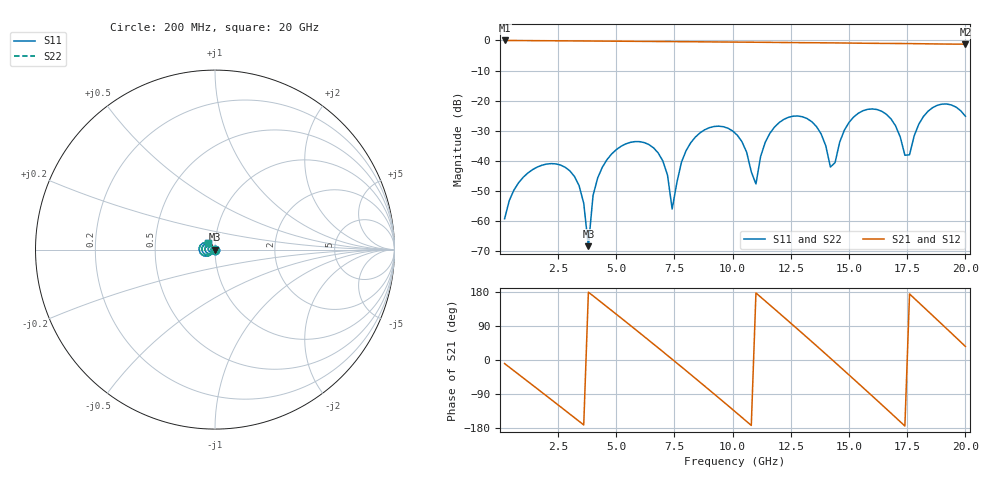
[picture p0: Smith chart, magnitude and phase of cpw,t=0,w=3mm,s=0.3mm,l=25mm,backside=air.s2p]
# HZ S RI R 50
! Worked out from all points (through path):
!   100 points, 200 MHz to 20 GHz, reference 50 ohm
!   highest |S21| = -0.01 dB at 200 MHz (marker M1); lowest = -1.2 dB at 20 GHz (marker M2)
!   group delay of S21, straight-line fit = 145 ps
!   lowest |S11| = -68.3 dB at 3.8 GHz (marker M3), VSWR 1.00, Z = 50 - j0.0234 ohm
!   |S11| at or under -10 dB: start of sweep to end of sweep
!   |S22| runs from -68.3 to -21.1 dB; largest |S21 - S12| = 0
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2e8  -0.000188 -0.00108  0.9853 -0.1641  0.9853 -0.1641  -0.000188 -0.00108
1.8e9  -0.00845 -0.00069  0.0815 -0.9864  0.0815 -0.9864  -0.00845 -0.00069
3e9  -0.00429 0.00535  -0.7801 -0.5978  -0.7801 -0.5978  -0.00429 0.00535
3.6e9  -0.000559 0.00189  -0.9683 -0.1471  -0.9683 -0.1471  -0.000559 0.00189
3.8e9  -0.000305 -0.000234  -0.9781 0.0171  -0.9781 0.0171  -0.000305 -0.000234
4e9  -0.000812 -0.00254  -0.9602 0.1808  -0.9602 0.1808  -0.000812 -0.00254
4.6e9  -0.00698 -0.00786  -0.7484 0.6224  -0.7484 0.6224  -0.00698 -0.00786
5.6e9  -0.0203 -0.000472  -0.0232 0.9671  -0.0232 0.9671  -0.0203 -0.000472
6.8e9  -0.00792 0.011  0.8143 0.5087  0.8143 0.5087  -0.00792 0.011
7.4e9  -0.00129 0.000927  0.9559 0.0328  0.9559 0.0328  -0.00129 0.000927
7.8e9  -0.00424 -0.00855  0.9063 -0.2978  0.9063 -0.2978  -0.00424 -0.00855
8.4e9  -0.0194 -0.0156  0.6281 -0.7126  0.6281 -0.7126  -0.0194 -0.0156
1.02e10  -0.0183 0.0194  -0.7317 -0.5872  -0.7317 -0.5872  -0.0183 0.0194
1.1e10  -0.00337 -0.00242  -0.9317 0.052  -0.9317 0.052  -0.00337 -0.00242
1.18e10  -0.0279 -0.0236  -0.6488 0.6622  -0.6488 0.6622  -0.0279 -0.0236
1.34e10  -0.0357 0.027  0.6075 0.6851  0.6075 0.6851  -0.0357 0.027
1.42e10  -0.00634 0.00474  0.9078 0.0747  0.9078 0.0747  -0.00634 0.00474
1.56e10  -0.0657 -0.018  0.2652 -0.8587  0.2652 -0.8587  -0.0657 -0.018
1.68e10  -0.0369 0.0337  -0.6839 -0.5709  -0.6839 -0.5709  -0.0369 0.0337
1.76e10  -0.0105 -0.00707  -0.8815 0.088  -0.8815 0.088  -0.0105 -0.00707
1.86e10  -0.0708 -0.0302  -0.3959 0.7812  -0.3959 0.7812  -0.0708 -0.0302
2e10  -0.0403 0.0377  0.7026 0.5071  0.7026 0.5071  -0.0403 0.0377
